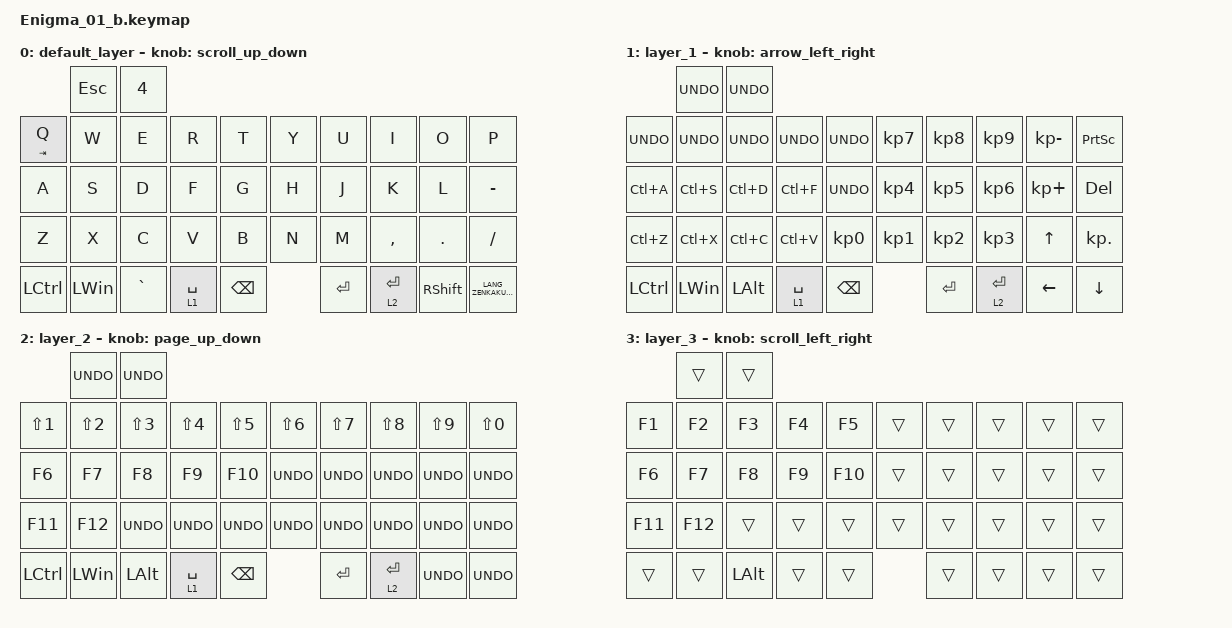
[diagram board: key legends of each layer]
#include <behaviors.dtsi>
#include <dt-bindings/zmk/keys.h>
#include <dt-bindings/zmk/pointing.h>

// #include <layout_shift_kp_override.dtsi>
// #define ZMK_POINTING_DEFAULT_SCRL_VAL 100

/ {
    behaviors {
        // Keep the original key_press behavior for ZMK core components

        original_key_press: original_key_press {
            compatible = "zmk,behavior-key-press";
            #binding-cells = <1>;
            label = "KEY_PRESS";
        };

        // Override the existing &kp behavior to use our custom implementation

        kp: key_press {
            compatible = "zmk,behavior-layout-shift-key-press";
            #binding-cells = <1>;
            label = "LAYOUT_SHIFT_KEY_PRESS";
        };

        scroll_up_down: behavior_sensor_rotate_mouse_wheel_up_down {
            compatible = "zmk,behavior-sensor-rotate";
            #sensor-binding-cells = <0>;
            bindings = <&msc SCRL_UP>, <&msc SCRL_DOWN>;

            tap-ms = <20>;
        };

        scroll_left_right: behavior_sensor_rotate_mouse_wheel_left_right {
            compatible = "zmk,behavior-sensor-rotate";
            #sensor-binding-cells = <0>;
            bindings = <&msc SCRL_LEFT>, <&msc SCRL_RIGHT>;

            tap-ms = <20>;
        };

        arrow_left_right: behavior_sensor_rotate_arrow_le {
            compatible = "zmk,behavior-sensor-rotate";
            #sensor-binding-cells = <0>;
            bindings = <&kp LEFT>, <&kp RIGHT>;

            tap-ms = <20>;
        };

        arrow_up_down: behavior_sensor_rotate_arrow_up {
            compatible = "zmk,behavior-sensor-rotate";
            #sensor-binding-cells = <0>;
            bindings = <&kp UP>, <&kp DOWN>;

            tap-ms = <20>;
        };

        page_up_down: behavior_sensor_rotate_page_up_ {
            compatible = "zmk,behavior-sensor-rotate";
            #sensor-binding-cells = <0>;
            bindings = <&kp PAGE_UP>, <&kp PAGE_DOWN>;

            tap-ms = <20>;
        };
    };

    keymap {
        compatible = "zmk,keymap";

        default_layer {
            bindings = <
           &kp ESC       &kp N4
&mt TAB Q  &kp W         &kp E      &kp R        &kp T          &kp Y  &kp U      &kp I        &kp O            &kp P
&kp A      &kp S         &kp D      &kp F        &kp G          &kp H  &kp J      &kp K        &kp L            &kp MINUS
&kp Z      &kp X         &kp C      &kp V        &kp B          &kp N  &kp M      &kp COMMA    &kp DOT          &kp SLASH
&kp LCTRL  &kp LEFT_WIN  &kp GRAVE  &lt 1 SPACE  &kp BACKSPACE         &kp ENTER  &lt 2 ENTER  &kp RIGHT_SHIFT  &kp LANG_ZENKAKUHANKAKU
            >;

            sensor-bindings = <&scroll_up_down>;
        };

        layer_1 {
            bindings = <
            &kp K_UNDO    &kp K_UNDO
&kp K_UNDO  &kp K_UNDO    &kp K_UNDO    &kp K_UNDO   &kp K_UNDO       &kp KP_NUMBER_7  &kp KP_NUMBER_8  &kp KP_NUMBER_9  &kp KP_MINUS  &kp PRINTSCREEN
&kp LC(A)   &kp LC(S)     &kp LC(D)     &kp LC(F)    &kp K_UNDO       &kp KP_NUMBER_4  &kp KP_NUMBER_5  &kp KP_NUMBER_6  &kp KP_PLUS   &kp DELETE
&kp LC(Z)   &kp LC(X)     &kp LC(C)     &kp LC(V)    &kp KP_NUMBER_0  &kp KP_NUMBER_1  &kp KP_NUMBER_2  &kp KP_NUMBER_3  &kp UP_ARROW  &kp KP_DOT
&kp LCTRL   &kp LEFT_WIN  &kp LEFT_ALT  &lt 1 SPACE  &kp BACKSPACE                     &kp ENTER        &lt 2 ENTER      &kp LEFT      &kp DOWN_ARROW
            >;

            sensor-bindings = <&arrow_left_right>;
        };

        layer_2 {
            bindings = <
                  &kp K_UNDO        &kp K_UNDO
&kp LS(NUMBER_1)  &kp LS(NUMBER_2)  &kp LS(NUMBER_3)  &kp LS(NUMBER_4)  &kp LS(NUMBER_5)  &kp LS(NUMBER_6)  &kp LS(NUMBER_7)  &kp LS(NUMBER_8)  &kp LS(NUMBER_9)  &kp LS(NUMBER_0)
&kp F6            &kp F7            &kp F8            &kp F9            &kp F10           &kp K_UNDO        &kp K_UNDO        &kp K_UNDO        &kp K_UNDO        &kp K_UNDO
&kp F11           &kp F12           &kp K_UNDO        &kp K_UNDO        &kp K_UNDO        &kp K_UNDO        &kp K_UNDO        &kp K_UNDO        &kp K_UNDO        &kp K_UNDO
&kp LCTRL         &kp LEFT_WIN      &kp LEFT_ALT      &lt 1 SPACE       &kp BACKSPACE                       &kp ENTER         &lt 2 ENTER       &kp K_UNDO        &kp K_UNDO
            >;

            sensor-bindings = <&page_up_down>;
        };

        layer_3 {
            bindings = <
         &trans   &trans
&kp F1   &kp F2   &kp F3        &kp F4  &kp F5   &trans  &trans  &trans  &trans  &trans
&kp F6   &kp F7   &kp F8        &kp F9  &kp F10  &trans  &trans  &trans  &trans  &trans
&kp F11  &kp F12  &trans        &trans  &trans   &trans  &trans  &trans  &trans  &trans
&trans   &trans   &kp LEFT_ALT  &trans  &trans           &trans  &trans  &trans  &trans
            >;

            sensor-bindings = <&scroll_left_right>;
        };
    };
};
